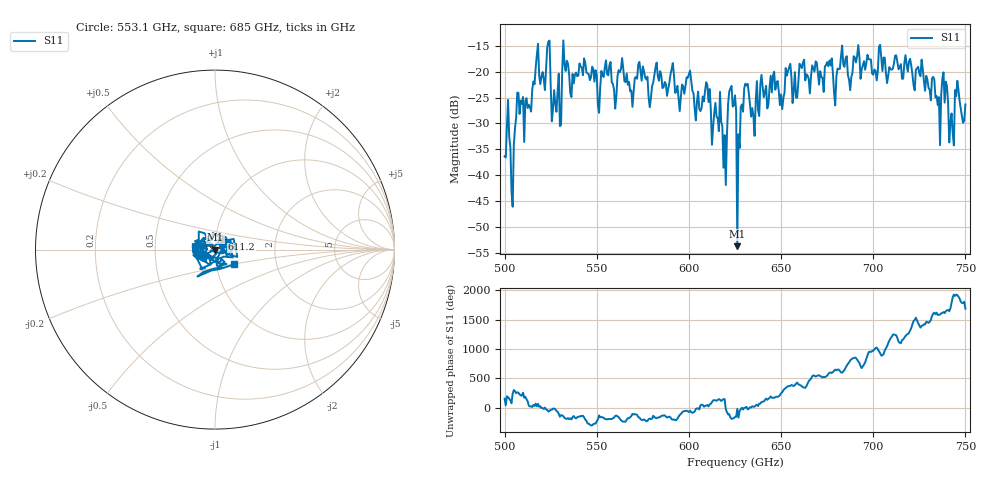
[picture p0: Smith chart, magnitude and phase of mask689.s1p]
!Created with skrf (http://scikit-rf.org).
# GHz S MA R 50.0
!freq magS11 angS11
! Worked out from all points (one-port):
!   401 points, 500 GHz to 750 GHz, reference 50 ohm
!   lowest |S11| = -53.8 dB at 626.2 GHz (marker M1), VSWR 1.00, Z = 50.2 - j0.0631 ohm
!   |S11| at or under -10 dB: start of sweep to end of sweep
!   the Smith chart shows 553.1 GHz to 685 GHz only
!   S11 on the Smith chart (normalised r, x): 553.1 GHz: 0.84, -0.04; 611.2 GHz: 1.07, +0.12; 685 GHz: 1.22, -0.20
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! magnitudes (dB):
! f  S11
! 500 GHz  -36.4
! 504.4 GHz  -46.1
! 507.5 GHz  -24.1
! 513.8 GHz  -26.9
! 516.9 GHz  -19.2
! 523.8 GHz  -14.2
! 526.9 GHz  -23.6
! 531.2 GHz  -19.8
! 533.1 GHz  -19.9
! 553.1 GHz  -20.7
! 562.5 GHz  -20.1
! 593.8 GHz  -22.7
! 611.2 GHz  -23.3
! 619.4 GHz  -32.3
! 623.8 GHz  -26.7
! 625 GHz  -24.6
! 626.2 GHz  -53.8
! 631.2 GHz  -22.7
! 634.4 GHz  -27.0
! 656.2 GHz  -26.1
! 685 GHz  -17.4
! 687.5 GHz  -23.6
! 718.8 GHz  -20.0
! 735 GHz  -26.4
! 738.8 GHz  -26.0
! 742.5 GHz  -28.1
! 745.6 GHz  -21.8
! 750 GHz  -26.3
